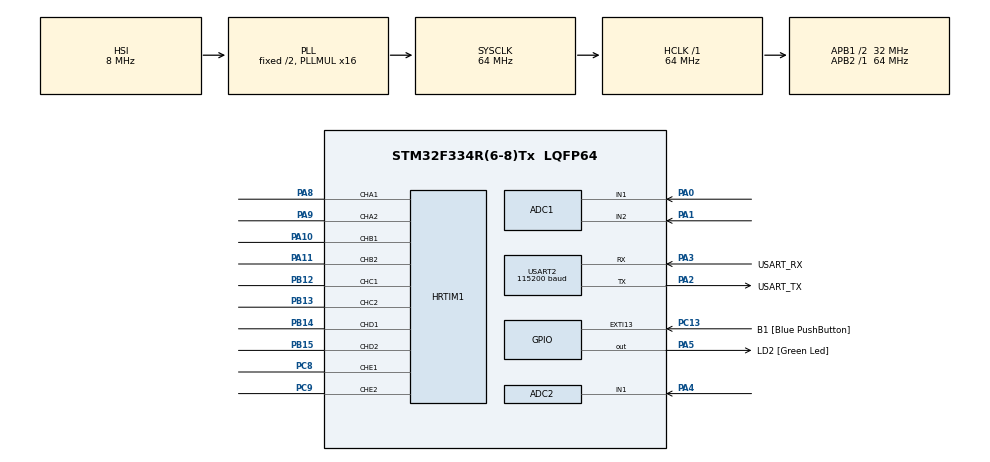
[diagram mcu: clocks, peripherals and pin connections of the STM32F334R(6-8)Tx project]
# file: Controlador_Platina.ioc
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ADC1.Channel-0\#ChannelRegularConversion=ADC_CHANNEL_1
ADC1.Channel-5\#ChannelRegularConversion=ADC_CHANNEL_2
ADC1.ClockPrescaler=ADC_CLOCK_ASYNC_DIV1
ADC1.ContinuousConvMode=DISABLE
ADC1.DMAContinuousRequests=ENABLE
ADC1.EOCSelection=ADC_EOC_SEQ_CONV
ADC1.ExternalTrigConv=ADC_EXTERNALTRIGCONVHRTIM_TRG1
ADC1.Mode=ADC_MODE_INDEPENDENT
ADC1.NbrOfConversion=2
ADC1.NbrOfConversionFlag=1
ADC1.Offset-0\#ChannelRegularConversion=0
ADC1.Offset-5\#ChannelRegularConversion=0
ADC1.OffsetNumber-0\#ChannelRegularConversion=ADC_OFFSET_NONE
ADC1.OffsetNumber-5\#ChannelRegularConversion=ADC_OFFSET_NONE
ADC1.Rank-0\#ChannelRegularConversion=1
ADC1.Rank-5\#ChannelRegularConversion=2
ADC1.SamplingTime-0\#ChannelRegularConversion=ADC_SAMPLETIME_19CYCLES_5
ADC1.SamplingTime-5\#ChannelRegularConversion=ADC_SAMPLETIME_19CYCLES_5
ADC1.SamplingTimeOPAMP-5\#ChannelRegularConversion=ADC_SAMPLETIME_61CYCLES_5
ADC1.SequencerNbRanks=1
ADC1.SubFamily=STM32F334x8
ADC1.master=1
ADC2.Channel-3\#ChannelRegularConversion=ADC_CHANNEL_1
ADC2.EOCSelection=ADC_EOC_SINGLE_CONV
ADC2.ExternalTrigConv=ADC_EXTERNALTRIGCONVHRTIM_TRG1
ADC2.NbrOfConversionFlag=1
ADC2.Offset-3\#ChannelRegularConversion=0
ADC2.OffsetNumber-3\#ChannelRegularConversion=ADC_OFFSET_NONE
ADC2.Rank-3\#ChannelRegularConversion=1
ADC2.SamplingTime-3\#ChannelRegularConversion=ADC_SAMPLETIME_19CYCLES_5
ADC2.SamplingTimeOPAMP-3\#ChannelRegularConversion=ADC_SAMPLETIME_61CYCLES_5
ADC2.SubFamily=STM32F334x8
Dma.ADC1.0.Direction=DMA_PERIPH_TO_MEMORY
Dma.ADC1.0.Instance=DMA1_Channel1
Dma.ADC1.0.MemDataAlignment=DMA_MDATAALIGN_HALFWORD
Dma.ADC1.0.MemInc=DMA_MINC_ENABLE
Dma.ADC1.0.Mode=DMA_CIRCULAR
Dma.ADC1.0.PeriphDataAlignment=DMA_PDATAALIGN_HALFWORD
Dma.ADC1.0.PeriphInc=DMA_PINC_DISABLE
Dma.ADC1.0.Priority=DMA_PRIORITY_LOW
Dma.Request0=ADC1
Dma.Request1=USART2_RX
Dma.Request2=USART2_TX
Dma.USART2_RX.1.Direction=DMA_PERIPH_TO_MEMORY
Dma.USART2_RX.1.Instance=DMA1_Channel6
Dma.USART2_RX.1.MemDataAlignment=DMA_MDATAALIGN_BYTE
Dma.USART2_RX.1.MemInc=DMA_MINC_ENABLE
Dma.USART2_RX.1.Mode=DMA_NORMAL
Dma.USART2_RX.1.PeriphDataAlignment=DMA_PDATAALIGN_BYTE
Dma.USART2_RX.1.PeriphInc=DMA_PINC_DISABLE
Dma.USART2_RX.1.Priority=DMA_PRIORITY_LOW
Dma.USART2_TX.2.Direction=DMA_MEMORY_TO_PERIPH
Dma.USART2_TX.2.Instance=DMA1_Channel7
Dma.USART2_TX.2.MemDataAlignment=DMA_MDATAALIGN_BYTE
Dma.USART2_TX.2.MemInc=DMA_MINC_ENABLE
Dma.USART2_TX.2.Mode=DMA_NORMAL
Dma.USART2_TX.2.PeriphDataAlignment=DMA_PDATAALIGN_BYTE
Dma.USART2_TX.2.PeriphInc=DMA_PINC_DISABLE
Dma.USART2_TX.2.Priority=DMA_PRIORITY_LOW
HRTIM1.ADCTrigger1_Source1=HRTIM_ADCTRIGGEREVENT13_MASTER_CMP2
HRTIM1.ADCTrigger1_Source2=HRTIM_ADCTRIGGEREVENT13_MASTER_CMP3
HRTIM1.ADCTrigger_Id1=HRTIM_ADCTRIGGER_1
HRTIM1.ADCTrigger_Id2=__NULL
HRTIM1.CalibrationRate_nonIT=HRTIM_CALIBRATIONRATE_114
HRTIM1.CompareUnit1-MasterTimer=HRTIM_COMPAREUNIT_1
HRTIM1.CompareUnit1-Output_TA1TA2=HRTIM_COMPAREUNIT_1
HRTIM1.CompareUnit1-Output_TB1TB2=HRTIM_COMPAREUNIT_1
HRTIM1.CompareUnit1-Output_TC1TC2=HRTIM_COMPAREUNIT_1
HRTIM1.CompareUnit1-Output_TD1TD2=HRTIM_COMPAREUNIT_1
HRTIM1.CompareUnit1-Output_TE1TE2=HRTIM_COMPAREUNIT_1
HRTIM1.CompareUnit2-MasterTimer=HRTIM_COMPAREUNIT_2
HRTIM1.CompareUnit3-MasterTimer=HRTIM_COMPAREUNIT_3
HRTIM1.CompareValue1-MasterTimer=0x7FEF
HRTIM1.CompareValue1-Output_TA1TA2=10000
HRTIM1.CompareValue1-Output_TB1TB2=10000
HRTIM1.CompareValue1-Output_TC1TC2=22000
HRTIM1.CompareValue1-Output_TD1TD2=22000
HRTIM1.CompareValue1-Output_TE1TE2=16000
HRTIM1.CompareValue2-MasterTimer=0x147
HRTIM1.CompareValue3-MasterTimer=0x8103
HRTIM1.DeadTimeInsertion-Output_TA1TA2=HRTIM_TIMDEADTIMEINSERTION_ENABLED
HRTIM1.DeadTimeInsertion-Output_TB1TB2=HRTIM_TIMDEADTIMEINSERTION_ENABLED
HRTIM1.DeadTimeInsertion-Output_TC1TC2=HRTIM_TIMDEADTIMEINSERTION_ENABLED
HRTIM1.DeadTimeInsertion-Output_TD1TD2=HRTIM_TIMDEADTIMEINSERTION_ENABLED
HRTIM1.DeadTimeInsertion-Output_TE1TE2=HRTIM_TIMDEADTIMEINSERTION_ENABLED
HRTIM1.Deadtimeconfig-Output_TA1TA2=HRTIM_TIMERINDEX_TIMER_A
HRTIM1.FallingValue-Output_TA1TA2=10
HRTIM1.FallingValue-Output_TB1TB2=10
HRTIM1.FallingValue-Output_TC1TC2=10
HRTIM1.FallingValue-Output_TD1TD2=10
HRTIM1.FallingValue-Output_TE1TE2=10
HRTIM1.HalfModeEnable-MasterTimer=HRTIM_HALFMODE_DISABLED
HRTIM1.ModeTimeBase-Output_TB1TB2=HRTIM_MODE_CONTINUOUS
HRTIM1.ModeTimeBase-Output_TC1TC2=HRTIM_MODE_SINGLESHOT_RETRIGGERABLE
HRTIM1.ModeTimeBase-Output_TD1TD2=HRTIM_MODE_SINGLESHOT_RETRIGGERABLE
HRTIM1.NumberADCTriggerSource1=2
HRTIM1.NumberResetSource1-Output_TA1TA2=1
HRTIM1.NumberResetSource1-Output_TB1TB2=1
HRTIM1.NumberResetSource1-Output_TC1TC2=1
HRTIM1.NumberResetSource1-Output_TD1TD2=1
HRTIM1.NumberResetSource1-Output_TE1TE2=1
HRTIM1.NumberResetSource2_TE=0
HRTIM1.NumberResetTrigger-Output_TA1TA2=1
HRTIM1.NumberResetTrigger-Output_TB1TB2=1
HRTIM1.NumberResetTrigger-Output_TC1TC2=1
HRTIM1.NumberResetTrigger-Output_TD1TD2=1
HRTIM1.NumberResetTrigger-Output_TE1TE2=1
HRTIM1.NumberSetSource1-Output_TA1TA2=1
HRTIM1.NumberSetSource1-Output_TB1TB2=1
HRTIM1.NumberSetSource1-Output_TC1TC2=1
HRTIM1.NumberSetSource1-Output_TD1TD2=1
HRTIM1.NumberSetSource1-Output_TE1TE2=1
HRTIM1.NumberUpdateTrigger-Output_TB1TB2=0
HRTIM1.NumberUpdateTrigger-Output_TC1TC2=0
HRTIM1.ORingUpdateSource_ADCTrigger1=HRTIM_ADCTRIGGERUPDATE_MASTER
HRTIM1.PreloadEnable-MasterTimer=HRTIM_PRELOAD_DISABLED
HRTIM1.PreloadEnable-Output_TA1TA2=HRTIM_PRELOAD_ENABLED
HRTIM1.PreloadEnable-Output_TB1TB2=HRTIM_PRELOAD_ENABLED
HRTIM1.PreloadEnable-Output_TC1TC2=HRTIM_PRELOAD_ENABLED
HRTIM1.PreloadEnable-Output_TD1TD2=HRTIM_PRELOAD_ENABLED
HRTIM1.PreloadEnable-Output_TE1TE2=HRTIM_PRELOAD_ENABLED
HRTIM1.PrescalerDead-Output_TA1TA2=HRTIM_TIMDEADTIME_PRESCALERRATIO_DIV1
HRTIM1.PrescalerDead-Output_TB1TB2=HRTIM_TIMDEADTIME_PRESCALERRATIO_DIV1
HRTIM1.PrescalerDead-Output_TC1TC2=HRTIM_TIMDEADTIME_PRESCALERRATIO_DIV1
HRTIM1.PrescalerDead-Output_TD1TD2=HRTIM_TIMDEADTIME_PRESCALERRATIO_DIV1
HRTIM1.PrescalerDead-Output_TE1TE2=HRTIM_TIMDEADTIME_PRESCALERRATIO_DIV1
HRTIM1.PrescalerRatio_MASTER=HRTIM_PRESCALERRATIO_MUL32
HRTIM1.RepetitionUpdate-MasterTimer=HRTIM_UPDATEONREPETITION_ENABLED
HRTIM1.RepetitionUpdate-Output_TA1TA2=HRTIM_UPDATEONREPETITION_ENABLED
HRTIM1.RepetitionUpdate-Output_TB1TB2=HRTIM_UPDATEONREPETITION_ENABLED
HRTIM1.RepetitionUpdate-Output_TC1TC2=HRTIM_UPDATEONREPETITION_ENABLED
HRTIM1.RepetitionUpdate-Output_TD1TD2=HRTIM_UPDATEONREPETITION_ENABLED
HRTIM1.RepetitionUpdate-Output_TE1TE2=HRTIM_UPDATEONREPETITION_ENABLED
HRTIM1.ResetOutput1_Source1-Output_TA1TA2=HRTIM_OUTPUTRESET_TIMCMP1
HRTIM1.ResetOutput1_Source1-Output_TB1TB2=HRTIM_OUTPUTRESET_TIMCMP1
HRTIM1.ResetOutput1_Source1-Output_TC1TC2=HRTIM_OUTPUTRESET_TIMCMP1
HRTIM1.ResetOutput1_Source1-Output_TD1TD2=HRTIM_OUTPUTRESET_TIMCMP1
HRTIM1.ResetOutput1_Source1-Output_TE1TE2=HRTIM_OUTPUTRESET_TIMCMP1
HRTIM1.ResetTrigger1-Output_TA1TA2=HRTIM_TIMRESETTRIGGER_MASTER_PER
HRTIM1.ResetTrigger1-Output_TB1TB2=HRTIM_TIMRESETTRIGGER_MASTER_CMP1
HRTIM1.ResetTrigger1-Output_TC1TC2=HRTIM_TIMRESETTRIGGER_MASTER_PER
HRTIM1.ResetTrigger1-Output_TD1TD2=HRTIM_TIMRESETTRIGGER_MASTER_CMP1
HRTIM1.ResetTrigger1-Output_TE1TE2=HRTIM_TIMRESETTRIGGER_MASTER_PER
HRTIM1.ResetUpdate-Output_TB1TB2=HRTIM_TIMUPDATEONRESET_ENABLED
HRTIM1.RisingValue-Output_TA1TA2=10
HRTIM1.RisingValue-Output_TB1TB2=10
HRTIM1.RisingValue-Output_TC1TC2=10
HRTIM1.RisingValue-Output_TD1TD2=10
HRTIM1.RisingValue-Output_TE1TE2=10
HRTIM1.SetOutput1_Source1-Output_TA1TA2=HRTIM_OUTPUTSET_MASTERPER
HRTIM1.SetOutput1_Source1-Output_TB1TB2=HRTIM_OUTPUTSET_MASTERCMP1
HRTIM1.SetOutput1_Source1-Output_TC1TC2=HRTIM_OUTPUTSET_MASTERPER
HRTIM1.SetOutput1_Source1-Output_TD1TD2=HRTIM_OUTPUTSET_MASTERCMP1
HRTIM1.SetOutput1_Source1-Output_TE1TE2=HRTIM_OUTPUTSET_MASTERPER
Mcu.Family=STM32F3
Mcu.Name=STM32F334R(6-8)Tx
Mcu.Package=LQFP64
NVIC.ADC1_2_IRQn=true\:0\:0\:false\:false\:true\:true\:true
NVIC.DMA1_Channel1_IRQn=true\:0\:0\:false\:false\:true\:false\:true
NVIC.DMA1_Channel6_IRQn=true\:0\:0\:false\:false\:true\:false\:true
NVIC.DMA1_Channel7_IRQn=true\:0\:0\:false\:false\:true\:false\:true
NVIC.PriorityGroup=NVIC_PRIORITYGROUP_4
NVIC.USART2_IRQn=true\:0\:0\:false\:false\:true\:true\:true
PA0.Mode=IN1-Single-Ended
PA0.Signal=ADC1_IN1
PA1.Mode=IN2-Single-Ended
PA1.Signal=ADC1_IN2
PA10.Mode=Output_TB1TB2
PA10.Signal=HRTIM1_CHB1
PA11.Mode=Output_TB1TB2
PA11.Signal=HRTIM1_CHB2
PA13.GPIO_Label=TMS
PA13.Mode=Serial_Wire
PA13.Signal=SYS_JTMS-SWDIO
PA14.GPIO_Label=TCK
PA14.Mode=Serial_Wire
PA14.Signal=SYS_JTCK-SWCLK
PA2.GPIO_Label=USART_TX
PA2.Mode=Asynchronous
PA2.Signal=USART2_TX
PA3.GPIO_Label=USART_RX
PA3.Mode=Asynchronous
PA3.Signal=USART2_RX
PA4.Mode=IN1-Single-Ended
PA4.Signal=ADC2_IN1
PA5.GPIO_Label=LD2 [Green Led]
PA5.Signal=GPIO_Output
PA8.Mode=Output_TA1TA2
PA8.Signal=HRTIM1_CHA1
PA9.Mode=Output_TA1TA2
PA9.Signal=HRTIM1_CHA2
PB12.Mode=Output_TC1TC2
PB12.Signal=HRTIM1_CHC1
PB13.Mode=Output_TC1TC2
PB13.Signal=HRTIM1_CHC2
PB14.Mode=Output_TD1TD2
PB14.Signal=HRTIM1_CHD1
PB15.Mode=Output_TD1TD2
PB15.Signal=HRTIM1_CHD2
PB3.GPIO_Label=SWO
PB3.Signal=SYS_JTDO-TRACESWO
PC13.GPIO_Label=B1 [Blue PushButton]
PC13.GPIO_ModeDefaultEXTI=GPIO_MODE_IT_FALLING
PC13.Signal=GPXTI13
PC14\ /\ OSC32_IN.Mode=LSE-External-Oscillator
PC14\ /\ OSC32_IN.Signal=RCC_OSC32_IN
PC15\ /\ OSC32_OUT.GPIO_Label=RCC_OSC32_OUT
PC15\ /\ OSC32_OUT.Mode=LSE-External-Oscillator
PC15\ /\ OSC32_OUT.Signal=RCC_OSC32_OUT
PC8.Mode=Output_TE1TE2
PC8.Signal=HRTIM1_CHE1
PC9.Mode=Output_TE1TE2
PC9.Signal=HRTIM1_CHE2
PF0\ /\ OSC_IN.Mode=HSE-External-Clock-Source
PF0\ /\ OSC_IN.Signal=RCC_OSC_IN
PF1\ /\ OSC_OUT.Signal=RCC_OSC_OUT
ProjectManager.HeapSize=0x200
ProjectManager.StackSize=0x400
ProjectManager.TargetToolchain=SW4STM32
RCC.AHBFreq_Value=64000000
RCC.APB1CLKDivider=RCC_HCLK_DIV2
RCC.APB1Freq_Value=32000000
RCC.APB1TimFreq_Value=64000000
RCC.APB2Freq_Value=64000000
RCC.APB2TimFreq_Value=64000000
RCC.CortexFreq_Value=64000000
RCC.FLatency-AdvancedSettings=FLASH_LATENCY_2
RCC.HCLKFreq_Value=64000000
RCC.HRTIMSelection=RCC_HRTIM1CLK_PLLCLK
RCC.HSE_VALUE=8000000
RCC.HSI_VALUE=8000000
RCC.PLLMUL=RCC_PLL_MUL16
RCC.SYSCLKFreq_VALUE=64000000
RCC.SYSCLKSourceVirtual=RCC_SYSCLKSOURCE_PLLCLK
USART2.BaudRate=115200
USART2.VirtualMode-Asynchronous=VM_ASYNC
VP_HRTIM1_VS_hrtimMasterTimerNoOutput.Mode=MasterTimer
board=NUCLEO-F334R8

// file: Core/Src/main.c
/* USER CODE BEGIN Header */
/**
 ******************************************************************************
 * @file           : main.c
 * @brief          : Main program body
 ******************************************************************************
 * @attention
 *
 * <h2><center>&copy; Copyright (c) 2021 STMicroelectronics.
 * All rights reserved.</center></h2>
 *
 * This software component is licensed by ST under BSD 3-Clause license,
 * the "License"; You may not use this file except in compliance with the
 * License. You may obtain a copy of the License at:
 *                        opensource.org/licenses/BSD-3-Clause
 *
 ******************************************************************************
 */
/* USER CODE END Header */
#include "main.h"
#include "adc.h"
#include "dma.h"
#include "hrtim.h"
#include "hrtim.h"
#include "usart.h"
#include "gpio.h"

/* USER CODE BEGIN Includes */
#include "system/comm.h"
#include "system/pidController.h"
#include "system/outputPwmController.h"
/* USER CODE END Includes */

/* USER CODE BEGIN PD */
#define COUNT_TO_VOLT (3.3/4096.0)
/* USER CODE END PD */

/* USER CODE BEGIN PV */
extern myPid_t ejeX;
extern myPid_t ejeY;
extern myPid_t ejeZ;
extern ADC_HandleTypeDef hadc1;
extern ADC_HandleTypeDef hadc2;
volatile uint16_t adcValue[3];
volatile float posicion[3];
volatile float posicion0[3] = { 0, 0, 0 };
volatile uint8_t isCloseLoop = 0;
volatile float sgSenseX;
volatile float sgSenseY;
volatile float sgSenseZ;
volatile float dVx;
volatile float dVy;
volatile float dVz;

/* USER CODE END PV */

void SystemClock_Config(void);

int main(void) {

	/* MCU Configuration--------------------------------------------------------*/

	/* Reset of all peripherals, Initializes the Flash interface and the Systick. */
	HAL_Init();

	/* Configure the system clock */
	SystemClock_Config();

	/* Initialize all configured peripherals */
	MX_GPIO_Init();
	MX_DMA_Init();
	MX_ADC1_Init();
	MX_USART2_UART_Init();
	MX_ADC2_Init();
	MX_HRTIM1_Init();
	/* USER CODE BEGIN 2 */

	sgSenseX = 40e-6 / 2.95;
	sgSenseY = 40e-6 / 2.95;
	sgSenseZ = 40e-6 / 2.95;

	dVx = COUNT_TO_VOLT * sgSenseX;
	dVy = COUNT_TO_VOLT * sgSenseY;
	dVz = COUNT_TO_VOLT * sgSenseZ;

	HAL_HRTIM_SimpleBaseStart(&hhrtim1, HRTIM_TIMERINDEX_MASTER);
	HAL_ADC_Start_DMA(&hadc1, (uint32_t*) adcValue, 2);
	HAL_ADC_Start(&hadc2);

	receptionStart();
	/* USER CODE END 2 */

	/* Infinite loop */
	/* USER CODE BEGIN WHILE */
	while (1) {
		txTask();
		rxTask();
		/* USER CODE END WHILE */

	}
}

void SystemClock_Config(void) {
	RCC_OscInitTypeDef RCC_OscInitStruct = { 0 };
	RCC_ClkInitTypeDef RCC_ClkInitStruct = { 0 };
	RCC_PeriphCLKInitTypeDef PeriphClkInit = { 0 };

	/** Initializes the RCC Oscillators according to the specified parameters
	 * in the RCC_OscInitTypeDef structure.
	 */
	RCC_OscInitStruct.OscillatorType = RCC_OSCILLATORTYPE_HSI;
	RCC_OscInitStruct.HSIState = RCC_HSI_ON;
	RCC_OscInitStruct.HSICalibrationValue = RCC_HSICALIBRATION_DEFAULT;
	RCC_OscInitStruct.PLL.PLLState = RCC_PLL_ON;
	RCC_OscInitStruct.PLL.PLLSource = RCC_PLLSOURCE_HSI;
	RCC_OscInitStruct.PLL.PLLMUL = RCC_PLL_MUL16;
	if (HAL_RCC_OscConfig(&RCC_OscInitStruct) != HAL_OK) {
		Error_Handler();
	}
	/** Initializes the CPU, AHB and APB buses clocks
	 */
	RCC_ClkInitStruct.ClockType = RCC_CLOCKTYPE_HCLK | RCC_CLOCKTYPE_SYSCLK
			| RCC_CLOCKTYPE_PCLK1 | RCC_CLOCKTYPE_PCLK2;
	RCC_ClkInitStruct.SYSCLKSource = RCC_SYSCLKSOURCE_PLLCLK;
	RCC_ClkInitStruct.AHBCLKDivider = RCC_SYSCLK_DIV1;
	RCC_ClkInitStruct.APB1CLKDivider = RCC_HCLK_DIV2;
	RCC_ClkInitStruct.APB2CLKDivider = RCC_HCLK_DIV1;

	if (HAL_RCC_ClockConfig(&RCC_ClkInitStruct, FLASH_LATENCY_2) != HAL_OK) {
		Error_Handler();
	}
	PeriphClkInit.PeriphClockSelection = RCC_PERIPHCLK_HRTIM1
			| RCC_PERIPHCLK_ADC12;
	PeriphClkInit.Adc12ClockSelection = RCC_ADC12PLLCLK_DIV1;
	PeriphClkInit.Hrtim1ClockSelection = RCC_HRTIM1CLK_PLLCLK;
	if (HAL_RCCEx_PeriphCLKConfig(&PeriphClkInit) != HAL_OK) {
		Error_Handler();
	}
}

/* USER CODE BEGIN 4 */
void HAL_ADC_ConvCpltCallback(ADC_HandleTypeDef* hadc) {
	posicion[0] = posicion0[0] + adcValue[0] * dVx;
	posicion[1] = posicion0[1] + adcValue[1] * dVy;
	posicion[2] = posicion0[2] + HAL_ADC_GetValue(&hadc2) * dVz;
	/**
	 * Aca se puede actualizar periodicamente el pid
	 * pero primero se deveria pasar los count a metros.
	 * outputSetValue(pidUpdateInRuntime(ejeX, adcValue[0] );
	 */
	if (isCloseLoop != 0) {
		outputSetValue('x', pidUpdateInRuntime(&ejeX, posicion[0]));
		outputSetValue('y', pidUpdateInRuntime(&ejeY, posicion[1]));
		outputSetValue('z', pidUpdateInRuntime(&ejeZ, posicion[2]));
	}

}

/* USER CODE END 4 */

void Error_Handler(void) {
	__disable_irq();
	while (1) {
	}
}

/************************ (C) COPYRIGHT STMicroelectronics *****END OF FILE****/
